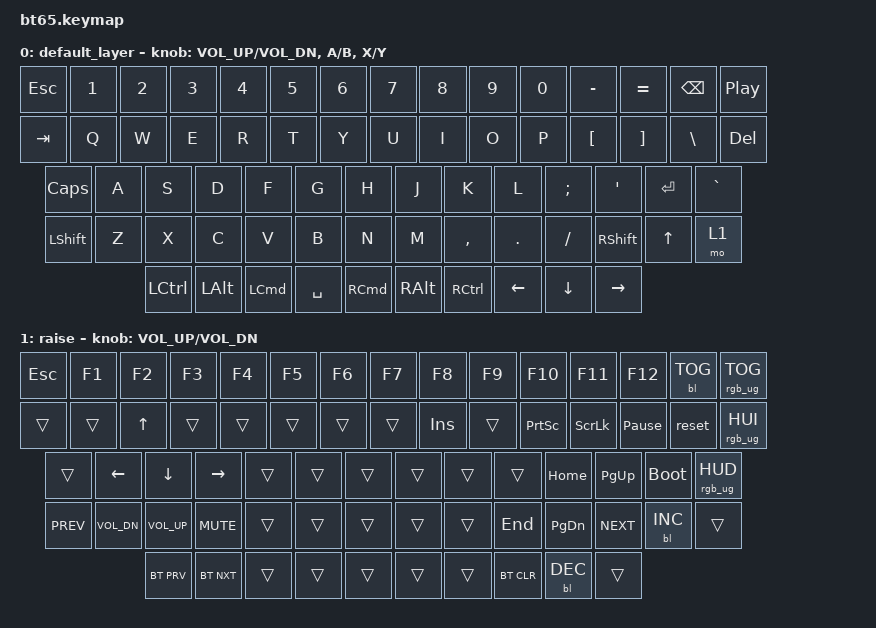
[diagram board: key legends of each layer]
#include <behaviors.dtsi>
#include <dt-bindings/zmk/keys.h>
#include <dt-bindings/zmk/backlight.h>
#include <dt-bindings/zmk/rgb.h>
#include <dt-bindings/zmk/bt.h>

/ {
    keymap {
        compatible = "zmk,keymap";

        default_layer {
            // ------------------------------------------------------------------------------------------------------------
            // |  ESC  |  1  |  2  |  3  |  4  |  5  |  6  |  7  |  8  |  9  |  0  |  -  |  =  |BKSP | INS	|
            // | TAB  |  Q  |  W  |  E  |  R  |  T  |  Y  |  U  |  I  |  O  |  P  |  [  |  ]  |   \    | DEL	|
            // | CAPS  |  A  |  S  |  D  |  F  |  G  |  H  |  J  |  K  |  L  |  ;  |  '  |     ENTER    | `   |
            // |  SHIFT  |  Z  |  X  |  C  |  V  |  B  |  N  |  M  |  ,  |  .  | /   |   SHIFT  | UP   | 1  |
            // |  CTL  |  ALT |  CMD    |            SPACE               | CMD  |  ALT   |  CTL	| LEFT |  DOWN    | RIGHT	|
            // ------------------------------------------------------------------------------------------------------------

            bindings = <
   &kp ESC     &kp N1    &kp N2            &kp N3     &kp N4             &kp N5    &kp N6     &kp N7     &kp N8    &kp N9     &kp N0  &kp MINUS  &kp EQUAL  &kp BACKSPACE  &kp C_PLAY_PAUSE
   &kp TAB      &kp Q     &kp W             &kp E      &kp R              &kp T     &kp Y      &kp U      &kp I     &kp O      &kp P   &kp LBKT   &kp RBKT       &kp BSLH           &kp DEL
  &kp CLCK      &kp A     &kp S             &kp D      &kp F              &kp G     &kp H      &kp J      &kp K     &kp L   &kp SEMI    &kp SQT    &kp RET      &kp GRAVE
 &kp LSHFT      &kp Z     &kp X             &kp C      &kp V              &kp B     &kp N      &kp M  &kp COMMA   &kp DOT   &kp FSLH  &kp RSHFT     &kp UP          &mo 1
            &kp LCTRL  &kp LALT  &kp LEFT_COMMAND  &kp SPACE  &kp RIGHT_COMMAND  &kp RALT  &kp RCTRL   &kp LEFT  &kp DOWN  &kp RIGHT
            >;

            sensor-bindings = <&inc_dec_kp C_VOL_UP C_VOL_DN &inc_dec_kp A B &inc_dec_kp X Y>;
        };

        raise {
            bindings = <
    &kp ESC        &kp F1        &kp F2      &kp F3  &kp F4  &kp F5  &kp F6  &kp F7      &kp F8      &kp F9    &kp F10     &kp F11          &kp F12       &bl BL_TOG  &rgb_ug RGB_TOG
     &trans        &trans        &kp UP      &trans  &trans  &trans  &trans  &trans     &kp INS      &trans  &kp PSCRN    &kp SLCK  &kp PAUSE_BREAK           &reset  &rgb_ug RGB_HUI
     &trans      &kp LEFT      &kp DOWN   &kp RIGHT  &trans  &trans  &trans  &trans      &trans      &trans   &kp HOME   &kp PG_UP      &bootloader  &rgb_ug RGB_HUD
 &kp C_PREV  &kp C_VOL_DN  &kp C_VOL_UP  &kp C_MUTE  &trans  &trans  &trans  &trans      &trans     &kp END  &kp PG_DN  &kp C_NEXT       &bl BL_INC           &trans
               &bt BT_PRV    &bt BT_NXT      &trans  &trans  &trans  &trans  &trans  &bt BT_CLR  &bl BL_DEC     &trans
            >;

            sensor-bindings = <&inc_dec_kp C_VOL_UP C_VOL_DN>;
        };
    };
};
